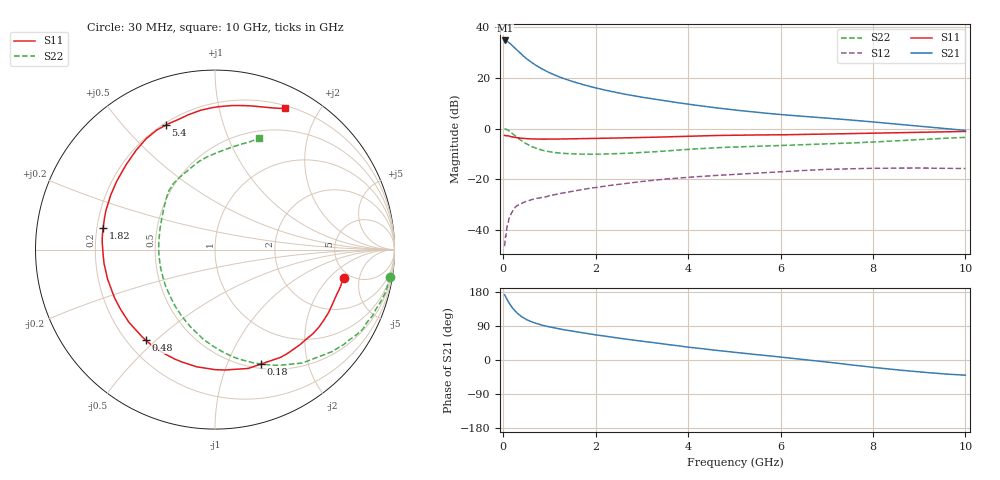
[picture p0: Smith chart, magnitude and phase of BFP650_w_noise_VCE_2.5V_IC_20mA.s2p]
! Infineon Technologies  Discrete & RF Semiconductors
! BFP650
! VCE =  2.5 V,  IC =  20 mA
! Common Emitter S-Parameters:  Jan 2016
# GHz  S  MA  R  50
!  f  S11  S21  S12  S22
! GHz  MAG  ANG  MAG  ANG  MAG  ANG  MAG  ANG
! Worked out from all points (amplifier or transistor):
!   229 points, 30 MHz to 10 GHz, reference 50 ohm
!   highest |S21| = 34.6 dB at 40 MHz (marker M1)
!   |S21| within 3 dB of that: start of sweep to 254.2 MHz
!   unconditionally stable (mu >= 1): 2.649 GHz to end of sweep
!   at 280 MHz: K = 0.24, MSG = 30.9 dB, |S12| = -30.6 dB
!   at 1.78 GHz: K = 0.90, MSG = 20.4 dB, |S12| = -23.8 dB
!   at 10 GHz: K = 1.04, MAG = 6.2 dB, |S12| = -15.7 dB
!   lowest NFmin = 0.66 dB at 450 MHz
!   S11 on the Smith chart (normalised r, x): 30 MHz: 4.41, -2.98; 180 MHz: 0.55, -1.33; 480 MHz: 0.27, -0.46; 1.82 GHz: 0.23, +0.09; 5.4 GHz: 0.21, +0.66; 10 GHz: 0.23, +1.59
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0.03  0.7332 -12.3  53.48 172.1  0.0049 81.7  0.9842 -8.8
0.04  0.7286 -16.6  53.58 169.7  0.0063 87.1  0.9824 -11.6
0.08  0.7227 -33.3  51.76 160.4  0.0115 74.8  0.9517 -22.8
0.11  0.7123 -44.5  49.8 154.0  0.0142 65.1  0.9198 -31.1
0.14  0.7056 -55.4  47.32 148.0  0.0187 65.7  0.8777 -38.6
0.18  0.6873 -68.0  43.84 141.1  0.022 60.4  0.8207 -47.7
0.24  0.6731 -85.2  39.03 131.4  0.027 54.0  0.742 -60.2
0.3  0.6607 -98.9  34.5 123.8  0.0307 50.1  0.6692 -70.9
0.4  0.6444 -116.7  28.3 114.1  0.0338 45.0  0.5731 -85.5
0.48  0.6348 -127.3  24.53 108.3  0.0366 43.1  0.5148 -95.2
0.6  0.6277 -139.8  20.19 101.4  0.0397 40.7  0.4502 -107.9
0.7  0.6226 -147.7  17.53 97.0  0.0422 39.7  0.4138 -116.8
0.9  0.6185 -159.8  13.79 90.2  0.0451 39.1  0.3647 -132.2
1.3  0.6235 -176.1  9.633 80.1  0.0544 39.1  0.3255 -154.8
1.7  0.6328 172.0  7.392 72.0  0.0631 38.8  0.3143 -171.6
1.82  0.6353 168.9  6.903 69.6  0.0656 38.2  0.3135 -175.9
3.4  0.6801 138.0  3.613 43.4  0.0994 27.8  0.3557 144.6
5.1  0.7416 114.8  2.264 19.1  0.127 14.5  0.4371 120.9
5.4  0.7458 111.5  2.12 15.3  0.1318 12.2  0.4454 117.1
6.8  0.7738 98.0  1.656 -2.6  0.1546 -0.3  0.4928 101.7
8.4  0.8195 78.2  1.247 -24.4  0.1669 -16.6  0.5659 83.1
10  0.8783 63.6  0.918 -40.1  0.164 -28.8  0.6699 68.3
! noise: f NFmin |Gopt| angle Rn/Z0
0.45  0.66  0.07  93  1.58
0.9  0.68  0.18  172  0.18
1.9  0.84  0.29  -171  0.05
2.4  0.93  0.3  -156  0.06
3.5  1.21  0.34  -129  0.12
